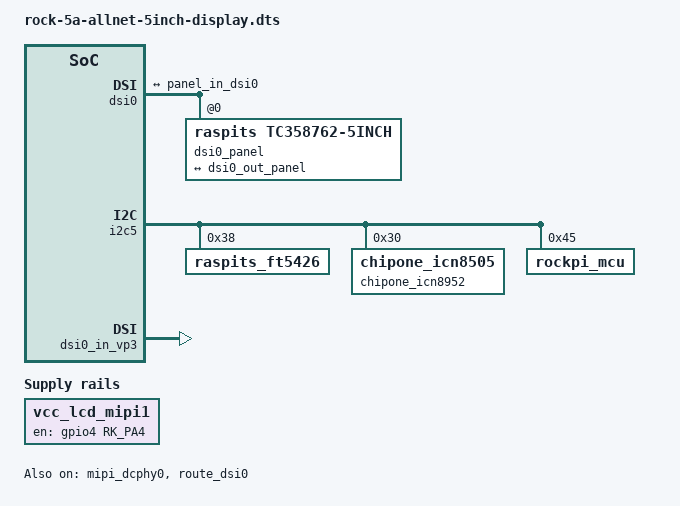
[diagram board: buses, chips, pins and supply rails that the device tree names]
/dts-v1/;
/plugin/;

#include <dt-bindings/interrupt-controller/irq.h>
#include <dt-bindings/gpio/gpio.h>
#include <dt-bindings/pinctrl/rockchip.h>

/ {
	metadata {
		title = "Enable ALLNET 5inch DSI Display";
		compatible = "radxa,rock-5a", "radxa,rock-5c";
		category = "display";
		exclusive = "dsi0";
		description = "Enable ALLNET 5inch DSI Display";
	};
};

&{/} {
	vcc_lcd_mipi1: vcc-lcd-mipi1 {
		status = "okay";
		compatible = "regulator-fixed";
		regulator-name = "vcc_lcd_mipi1";
		gpio = <&gpio4 RK_PA4 GPIO_ACTIVE_HIGH>;
		enable-active-high;
		regulator-boot-on;
		regulator-always-on;
		regulator-state-mem {
			regulator-off-in-suspend;
		};
	};
};

&dsi0 {
	status = "okay";
	#address-cells = <1>;
	#size-cells = <0>;
	rockchip,lane-rate = <605>;

	dsi0_panel: dsi-panel@0 {
		compatible = "raspits,tc358762-5inch";
		reg = <0x0>;
		status = "okay";

		ports {
			#address-cells = <1>;
			#size-cells = <0>;

			port@0 {
				reg = <0>;
				panel_in_dsi0: endpoint {
					remote-endpoint = <&dsi0_out_panel>;
				};
			};
		};
	};

	ports {
		#address-cells = <1>;
		#size-cells = <0>;

		port@1 {
			reg = <1>;
			dsi0_out_panel: endpoint {
				remote-endpoint = <&panel_in_dsi0>;
			};
		};
	};
};

&i2c5 {
	status = "okay";
	pinctrl-0 = <&i2c5m2_xfer>;
	#address-cells = <1>;
	#size-cells = <0>;

	raspits_ft5426: raspits_ft5426@38 {
		compatible = "raspits_ft5426";
		reg = <0x38>;
	};

	chipone_icn8952: chipone_icn8952@30 {
		compatible = "chipone_icn8505";
		reg = <0x30>;
	};

	rockpi_mcu: rockpi-mcu@45 {
		compatible = "rockpi_mcu";
		reg = <0x45>;
	};
};

&mipi_dcphy0 {
	status = "okay";
};

&route_dsi0 {
	status = "okay";
	connect = <&vp3_out_dsi0>;
};

&dsi0_in_vp2 {
	status = "disabled";
};

&dsi0_in_vp3 {
	status = "okay";
};
